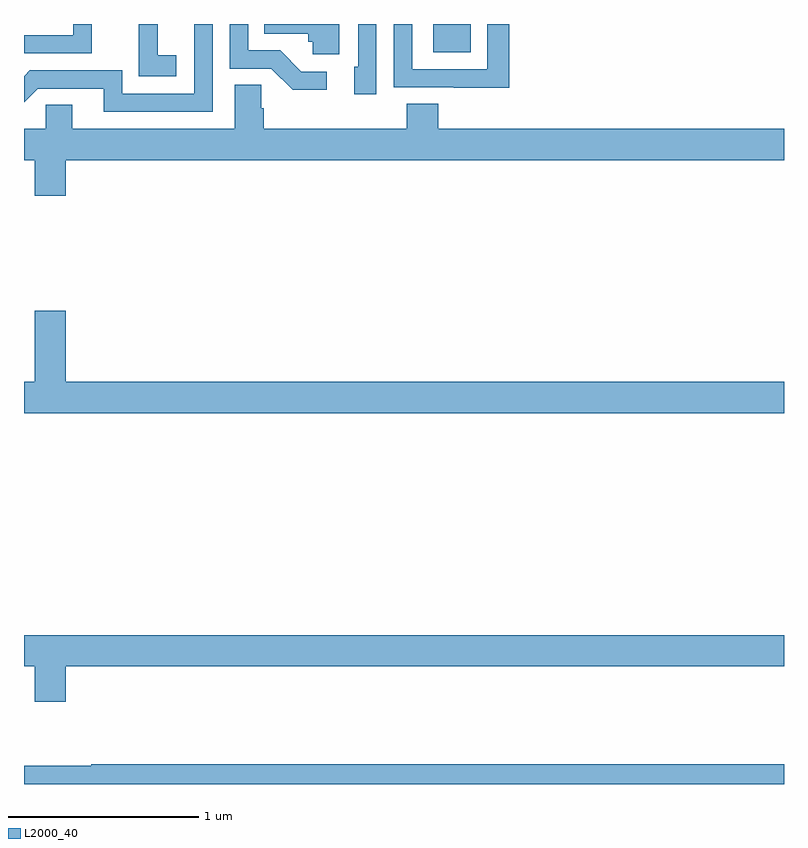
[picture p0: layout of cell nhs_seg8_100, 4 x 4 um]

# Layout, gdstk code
import gdstk
lib = gdstk.Library(unit=1e-6, precision=1e-09)
def R(c, l, rs):  # rectangles x0, y0, x1, y1
    for r in rs: c.add(gdstk.rectangle(r[:2], r[2:], *l))
def P(c, l, *ps):  # polygons
    for p in ps: c.add(gdstk.Polygon(p, *l))
L2000_40 = (2000, 40)

nhs_seg8_100 = lib.new_cell('nhs_seg8_100')
R(nhs_seg8_100, L2000_40, [(119.153,1099.751,119.35,1099.9)])
P(nhs_seg8_100, L2000_40, [(117.357,1099.9),(117.258,1099.9),(117.258,1099.842),(117,1099.842),(117,1099.746),(117.357,1099.746)],
  [(118.594,1099.65),(118.459,1099.65),(118.348,1099.761),(118.179,1099.761),(118.179,1099.9),(118.083,1099.9),(118.083,1099.665),(118.302,1099.665),(118.415,1099.553),(118.594,1099.553)],
  [(119.555,1099.9),(119.439,1099.9),(119.439,1099.662),(119.043,1099.662),(119.043,1099.9),(118.947,1099.9),(118.947,1099.566),(119.263,1099.566),(119.263,1099.565),(119.555,1099.565)],
  [(118.66,1099.9),(118.264,1099.9),(118.264,1099.85),(118.495,1099.85),(118.495,1099.806),(118.521,1099.806),(118.521,1099.742),(118.66,1099.742)],
  [(117.993,1099.9),(117.897,1099.9),(117.897,1099.533),(117.516,1099.533),(117.516,1099.656),(117.03,1099.656),(117,1099.626),(117,1099.488),(117.072,1099.56),(117.419,1099.56),(117.419,1099.437),(117.993,1099.437)],
  [(117.802,1099.735),(117.704,1099.735),(117.704,1099.9),(117.605,1099.9),(117.605,1099.831),(117.604,1099.831),(117.604,1099.625),(117.802,1099.625)],
  [(118.854,1099.9),(118.758,1099.9),(118.758,1099.674),(118.739,1099.674),(118.739,1099.53),(118.854,1099.53)],
  [(117.22,1099.184),(121,1099.184),(121,1099.348),(119.18,1099.348),(119.18,1099.481),(119.015,1099.481),(119.015,1099.348),(118.262,1099.348),(118.262,1099.457),(118.248,1099.457),(118.248,1099.58),(118.109,1099.58),(118.109,1099.348),(117.253,1099.348),(117.253,1099.475),(117.114,1099.475),(117.114,1099.348),(117,1099.348),(117,1099.184),(117.056,1099.184),(117.056,1098.996),(117.22,1098.996)],
  [(121,1098.016),(117.22,1098.016),(117.22,1098.391),(117.056,1098.391),(117.056,1098.016),(117,1098.016),(117,1097.852),(121,1097.852)],
  [(117.22,1096.52),(121,1096.52),(121,1096.684),(117,1096.684),(117,1096.52),(117.056,1096.52),(117.056,1096.332),(117.22,1096.332)],
  [(121,1096.004),(117.353,1096.004),(117.353,1095.997),(117,1095.997),(117,1095.9),(121,1095.9)])

lib.write_gds('nhs_seg8_100.gds')
